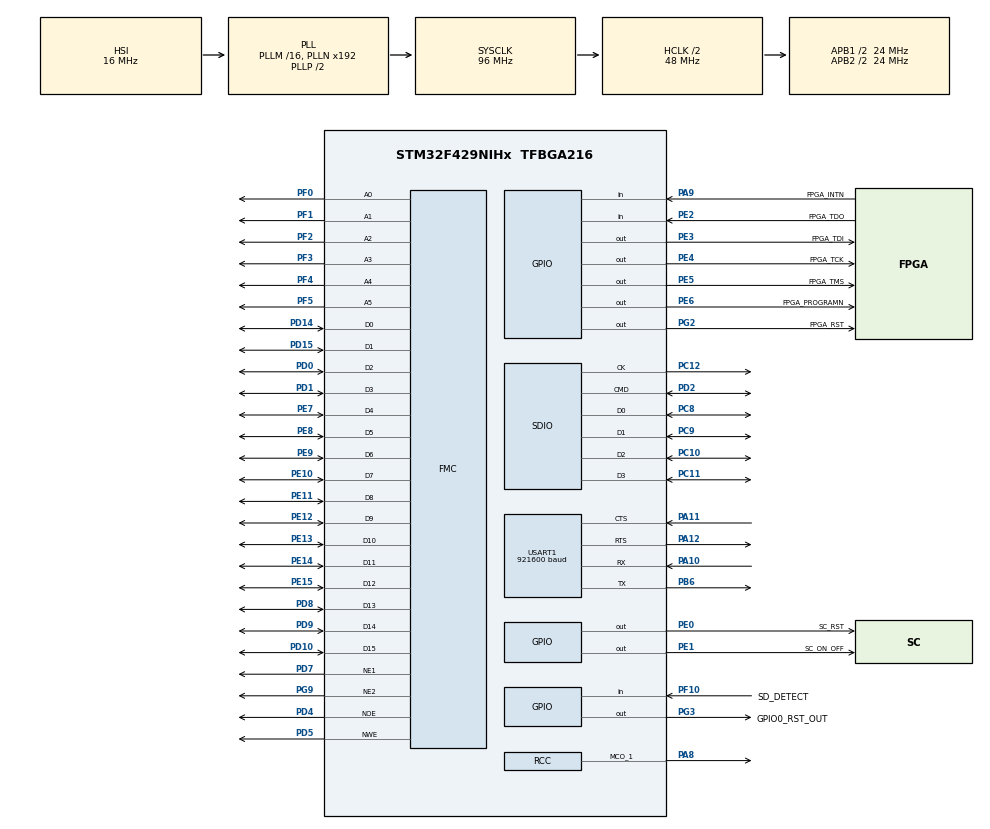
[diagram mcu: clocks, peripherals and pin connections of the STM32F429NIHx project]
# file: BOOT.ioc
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Dma.Request0=SDIO_RX
Dma.Request1=SDIO_TX
Dma.Request2=USART1_RX
Dma.Request3=USART1_TX
Dma.SDIO_RX.0.Direction=DMA_PERIPH_TO_MEMORY
Dma.SDIO_RX.0.FIFOMode=DMA_FIFOMODE_ENABLE
Dma.SDIO_RX.0.FIFOThreshold=DMA_FIFO_THRESHOLD_FULL
Dma.SDIO_RX.0.Instance=DMA2_Stream3
Dma.SDIO_RX.0.MemBurst=DMA_MBURST_INC4
Dma.SDIO_RX.0.MemDataAlignment=DMA_MDATAALIGN_WORD
Dma.SDIO_RX.0.MemInc=DMA_MINC_ENABLE
Dma.SDIO_RX.0.Mode=DMA_PFCTRL
Dma.SDIO_RX.0.PeriphBurst=DMA_PBURST_INC4
Dma.SDIO_RX.0.PeriphDataAlignment=DMA_PDATAALIGN_WORD
Dma.SDIO_RX.0.PeriphInc=DMA_PINC_DISABLE
Dma.SDIO_RX.0.Priority=DMA_PRIORITY_LOW
Dma.SDIO_TX.1.Direction=DMA_MEMORY_TO_PERIPH
Dma.SDIO_TX.1.FIFOMode=DMA_FIFOMODE_ENABLE
Dma.SDIO_TX.1.FIFOThreshold=DMA_FIFO_THRESHOLD_FULL
Dma.SDIO_TX.1.Instance=DMA2_Stream6
Dma.SDIO_TX.1.MemBurst=DMA_MBURST_INC4
Dma.SDIO_TX.1.MemDataAlignment=DMA_MDATAALIGN_WORD
Dma.SDIO_TX.1.MemInc=DMA_MINC_ENABLE
Dma.SDIO_TX.1.Mode=DMA_PFCTRL
Dma.SDIO_TX.1.PeriphBurst=DMA_PBURST_INC4
Dma.SDIO_TX.1.PeriphDataAlignment=DMA_PDATAALIGN_WORD
Dma.SDIO_TX.1.PeriphInc=DMA_PINC_DISABLE
Dma.SDIO_TX.1.Priority=DMA_PRIORITY_LOW
Dma.USART1_RX.2.Direction=DMA_PERIPH_TO_MEMORY
Dma.USART1_RX.2.FIFOMode=DMA_FIFOMODE_DISABLE
Dma.USART1_RX.2.Instance=DMA2_Stream2
Dma.USART1_RX.2.MemDataAlignment=DMA_MDATAALIGN_BYTE
Dma.USART1_RX.2.MemInc=DMA_MINC_ENABLE
Dma.USART1_RX.2.Mode=DMA_NORMAL
Dma.USART1_RX.2.PeriphDataAlignment=DMA_PDATAALIGN_BYTE
Dma.USART1_RX.2.PeriphInc=DMA_PINC_DISABLE
Dma.USART1_RX.2.Priority=DMA_PRIORITY_LOW
Dma.USART1_TX.3.Direction=DMA_MEMORY_TO_PERIPH
Dma.USART1_TX.3.FIFOMode=DMA_FIFOMODE_DISABLE
Dma.USART1_TX.3.Instance=DMA2_Stream7
Dma.USART1_TX.3.MemDataAlignment=DMA_MDATAALIGN_BYTE
Dma.USART1_TX.3.MemInc=DMA_MINC_ENABLE
Dma.USART1_TX.3.Mode=DMA_NORMAL
Dma.USART1_TX.3.PeriphDataAlignment=DMA_PDATAALIGN_BYTE
Dma.USART1_TX.3.PeriphInc=DMA_PINC_DISABLE
Dma.USART1_TX.3.Priority=DMA_PRIORITY_LOW
FATFS.BSP.number=1
FATFS.USE_DMA_CODE_SD=1
FATFS._USE_FASTSEEK=0
FATFS._USE_LFN=1
FATFS._USE_MKFS=0
FATFS0.BSP.STBoard=false
FATFS0.BSP.api=Unknown
FATFS0.BSP.i2caddr=0
FATFS0.BSP.instance=PF10
FATFS0.BSP.ip=GPIO
FATFS0.BSP.mode=Input
FATFS0.BSP.name=Detect_SDIO
FATFS0.BSP.solution=PF10
Mcu.Family=STM32F4
Mcu.Name=STM32F429NIHx
Mcu.Package=TFBGA216
NVIC.DMA2_Stream2_IRQn=true\:0\:0\:false\:false\:true\:false\:true
NVIC.DMA2_Stream3_IRQn=true\:0\:0\:false\:false\:true\:false\:true
NVIC.DMA2_Stream6_IRQn=true\:0\:0\:false\:false\:true\:false\:true
NVIC.DMA2_Stream7_IRQn=true\:0\:0\:false\:false\:true\:false\:true
NVIC.PriorityGroup=NVIC_PRIORITYGROUP_4
NVIC.SDIO_IRQn=true\:0\:0\:false\:false\:true\:true\:true
NVIC.USART1_IRQn=true\:0\:0\:false\:false\:true\:true\:true
PA10.Mode=Asynchronous
PA10.Signal=USART1_RX
PA11.Mode=CTS_RTS
PA11.Signal=USART1_CTS
PA12.Mode=CTS_RTS
PA12.Signal=USART1_RTS
PA8.Mode=Clock-out-1
PA8.Signal=RCC_MCO_1
PA9.GPIO_Label=FPGA_INTN
PA9.Signal=GPIO_Input
PB6.Mode=Asynchronous
PB6.Signal=USART1_TX
PC10.Mode=SD_4_bits_Wide_bus
PC10.Signal=SDIO_D2
PC11.Mode=SD_4_bits_Wide_bus
PC11.Signal=SDIO_D3
PC12.Mode=SD_4_bits_Wide_bus
PC12.Signal=SDIO_CK
PC8.Mode=SD_4_bits_Wide_bus
PC8.Signal=SDIO_D0
PC9.Mode=SD_4_bits_Wide_bus
PC9.Signal=SDIO_D1
PD0.Signal=FMC_D2_DA2
PD1.Signal=FMC_D3_DA3
PD10.Signal=FMC_D15_DA15
PD14.Signal=FMC_D0_DA0
PD15.Signal=FMC_D1_DA1
PD2.Mode=SD_4_bits_Wide_bus
PD2.Signal=SDIO_CMD
PD4.Signal=FMC_NOE
PD5.Signal=FMC_NWE
PD7.Mode=NorPsramChipSelect1_1
PD7.Signal=FMC_NE1
PD8.Signal=FMC_D13_DA13
PD9.Signal=FMC_D14_DA14
PE0.GPIO_Label=SC_RST
PE0.Signal=GPIO_Output
PE1.GPIO_Label=SC_ON_OFF
PE1.Signal=GPIO_Output
PE10.Signal=FMC_D7_DA7
PE11.Signal=FMC_D8_DA8
PE12.Signal=FMC_D9_DA9
PE13.Signal=FMC_D10_DA10
PE14.Signal=FMC_D11_DA11
PE15.Signal=FMC_D12_DA12
PE2.GPIO_Label=FPGA_TDO
PE2.Signal=GPIO_Input
PE3.GPIO_Label=FPGA_TDI
PE3.Signal=GPIO_Output
PE4.GPIO_Label=FPGA_TCK
PE4.GPIO_Speed=GPIO_SPEED_FREQ_LOW
PE4.Signal=GPIO_Output
PE5.GPIO_Label=FPGA_TMS
PE5.GPIO_Speed=GPIO_SPEED_FREQ_LOW
PE5.Signal=GPIO_Output
PE6.GPIO_Label=FPGA_PROGRAMN
PE6.GPIO_Speed=GPIO_SPEED_FREQ_LOW
PE6.Signal=GPIO_Output
PE7.Signal=FMC_D4_DA4
PE8.Signal=FMC_D5_DA5
PE9.Signal=FMC_D6_DA6
PF0.Signal=FMC_A0
PF1.Signal=FMC_A1
PF10.GPIO_Label=SD_DETECT
PF10.Signal=GPIO_Input
PF2.Signal=FMC_A2
PF3.Signal=FMC_A3
PF4.Signal=FMC_A4
PF5.Signal=FMC_A5
PG2.GPIO_Label=FPGA_RST
PG2.Signal=GPIO_Output
PG3.GPIO_Label=GPIO0_RST_OUT
PG3.Signal=GPIO_Output
PG9.Mode=NorPsramChipSelect2_2
PG9.Signal=FMC_NE2
ProjectManager.HeapSize=0x200
ProjectManager.StackSize=0x400
ProjectManager.TargetToolchain=STM32CubeIDE
RCC.48MHZClocksFreq_Value=48000000
RCC.AHBCLKDivider=RCC_SYSCLK_DIV2
RCC.AHBFreq_Value=48000000
RCC.APB1CLKDivider=RCC_HCLK_DIV2
RCC.APB1Freq_Value=24000000
RCC.APB1TimFreq_Value=48000000
RCC.APB2CLKDivider=RCC_HCLK_DIV2
RCC.APB2Freq_Value=24000000
RCC.APB2TimFreq_Value=48000000
RCC.CortexFreq_Value=48000000
RCC.HCLKFreq_Value=48000000
RCC.HSE_VALUE=25000000
RCC.HSI_VALUE=16000000
RCC.LSE_VALUE=32768
RCC.SYSCLKFreq_VALUE=96000000
RCC.SYSCLKSource=RCC_SYSCLKSOURCE_PLLCLK
RCC.VCOOutputFreq_Value=192000000
SH.FMC_A0.0=FMC_A0,6b-a1
SH.FMC_A0.1=FMC_A0,6b-a2
SH.FMC_A1.0=FMC_A1,6b-a1
SH.FMC_A1.1=FMC_A1,6b-a2
SH.FMC_A2.0=FMC_A2,6b-a1
SH.FMC_A2.1=FMC_A2,6b-a2
SH.FMC_A3.0=FMC_A3,6b-a1
SH.FMC_A3.1=FMC_A3,6b-a2
SH.FMC_A4.0=FMC_A4,6b-a1
SH.FMC_A4.1=FMC_A4,6b-a2
SH.FMC_A5.0=FMC_A5,6b-a1
SH.FMC_A5.1=FMC_A5,6b-a2
SH.FMC_D0_DA0.0=FMC_D0,16b-d1
SH.FMC_D0_DA0.1=FMC_D0,16b-d2
SH.FMC_D10_DA10.0=FMC_D10,16b-d1
SH.FMC_D10_DA10.1=FMC_D10,16b-d2
SH.FMC_D11_DA11.0=FMC_D11,16b-d1
SH.FMC_D11_DA11.1=FMC_D11,16b-d2
SH.FMC_D12_DA12.0=FMC_D12,16b-d1
SH.FMC_D12_DA12.1=FMC_D12,16b-d2
SH.FMC_D13_DA13.0=FMC_D13,16b-d1
SH.FMC_D13_DA13.1=FMC_D13,16b-d2
SH.FMC_D14_DA14.0=FMC_D14,16b-d1
SH.FMC_D14_DA14.1=FMC_D14,16b-d2
SH.FMC_D15_DA15.0=FMC_D15,16b-d1
SH.FMC_D15_DA15.1=FMC_D15,16b-d2
SH.FMC_D1_DA1.0=FMC_D1,16b-d1
SH.FMC_D1_DA1.1=FMC_D1,16b-d2
SH.FMC_D2_DA2.0=FMC_D2,16b-d1
SH.FMC_D2_DA2.1=FMC_D2,16b-d2
SH.FMC_D3_DA3.0=FMC_D3,16b-d1
SH.FMC_D3_DA3.1=FMC_D3,16b-d2
SH.FMC_D4_DA4.0=FMC_D4,16b-d1
SH.FMC_D4_DA4.1=FMC_D4,16b-d2
SH.FMC_D5_DA5.0=FMC_D5,16b-d1
SH.FMC_D5_DA5.1=FMC_D5,16b-d2
SH.FMC_D6_DA6.0=FMC_D6,16b-d1
SH.FMC_D6_DA6.1=FMC_D6,16b-d2
SH.FMC_D7_DA7.0=FMC_D7,16b-d1
SH.FMC_D7_DA7.1=FMC_D7,16b-d2
SH.FMC_D8_DA8.0=FMC_D8,16b-d1
SH.FMC_D8_DA8.1=FMC_D8,16b-d2
SH.FMC_D9_DA9.0=FMC_D9,16b-d1
SH.FMC_D9_DA9.1=FMC_D9,16b-d2
SH.FMC_NOE.0=FMC_NOE,Sram1
SH.FMC_NOE.1=FMC_NOE,Sram2
SH.FMC_NWE.0=FMC_NWE,Sram1
SH.FMC_NWE.1=FMC_NWE,Sram2
USART1.BaudRate=921600
USART1.VirtualMode=VM_ASYNC
VP_FATFS_VS_SDIO.Mode=SDIO
board=custom

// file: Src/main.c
/* USER CODE BEGIN Header */
/**
  ******************************************************************************
  * @file           : main.c
  * @brief          : Main program body
  ******************************************************************************
  * @attention
  *
  * <h2><center>&copy; Copyright (c) 2019 STMicroelectronics.
  * All rights reserved.</center></h2>
  *
  * This software component is licensed by ST under BSD 3-Clause license,
  * the "License"; You may not use this file except in compliance with the
  * License. You may obtain a copy of the License at:
  *                        opensource.org/licenses/BSD-3-Clause
  *
  ******************************************************************************
  */
/* USER CODE END Header */
#include "main.h"
#include "dma.h"
#include "fatfs.h"
#include "sdio.h"
#include "usart.h"
#include "gpio.h"

/* USER CODE BEGIN Includes */
#include "FPGA.h"
#include "stm32f4xx_hal_sram.h"
#include "console.h"
#include "FPGA_Setup.h"
/* USER CODE END Includes */

/* USER CODE BEGIN PD */

#define APPLICATION_ADDRESS        0x08060000	//STRAT of MPU-set
//#define APPLICATION_ADDRESS        0x08080000	//STRAT of UART-test
#define FPGA_IPM_SRAM_BASE_ADDR    0x60000000U
typedef void (*pFunction)(void);
static SRAM_HandleTypeDef SRAM_READ;
static SRAM_HandleTypeDef SRAM_WRITE;
/* USER CODE END PD */

/* USER CODE BEGIN PV */

uint8_t stlink_serial[12];

/* USER CODE END PV */

void SystemClock_Config(void);
extern int st_serial(void);

int main(void)
{
  /* USER CODE BEGIN 1 */

    uint16_t dataPtr;
    FIL fp;
    FATFS fs;
    volatile FRESULT fres;

  /* USER CODE END 1 */

  /* MCU Configuration--------------------------------------------------------*/

  /* Reset of all peripherals, Initializes the Flash interface and the Systick. */
  HAL_Init();

  /* Configure the system clock */
  SystemClock_Config();

  /* Initialize all configured peripherals */
  MX_GPIO_Init();
  MX_DMA_Init();
  MX_USART1_UART_Init();
  MX_SDIO_SD_Init();
  MX_FATFS_Init();
  /* USER CODE BEGIN 2 */
  FPGA_init();

  //Reset FPGA
  HAL_GPIO_WritePin(GPIOG, GPIO0_RST_OUT_Pin|FPGA_RST_Pin, GPIO_PIN_SET);
  HAL_GPIO_WritePin(GPIOG, GPIO0_RST_OUT_Pin|FPGA_RST_Pin, GPIO_PIN_RESET);

  uint32_t partial_serial;
  partial_serial = st_serial();
  memcpy(stlink_serial, &partial_serial, 4);
  partial_serial = st_serial();
  memcpy(stlink_serial+4, &partial_serial, 4);
  partial_serial = st_serial();
  memcpy(stlink_serial+8, &partial_serial, 4);

  /* USER CODE END 2 */

  /* Infinite loop */
  /* USER CODE BEGIN WHILE */
  while (1)
  {
	  ConsoleTask();
    /* USER CODE END WHILE */

  }
}

void SystemClock_Config(void)
{
  RCC_OscInitTypeDef RCC_OscInitStruct = {0};
  RCC_ClkInitTypeDef RCC_ClkInitStruct = {0};

  /** Configure the main internal regulator output voltage
  */
  __HAL_RCC_PWR_CLK_ENABLE();
  __HAL_PWR_VOLTAGESCALING_CONFIG(PWR_REGULATOR_VOLTAGE_SCALE3);
  /** Initializes the RCC Oscillators according to the specified parameters
  * in the RCC_OscInitTypeDef structure.
  */
  RCC_OscInitStruct.OscillatorType = RCC_OSCILLATORTYPE_HSI;
  RCC_OscInitStruct.HSIState = RCC_HSI_ON;
  RCC_OscInitStruct.HSICalibrationValue = RCC_HSICALIBRATION_DEFAULT;
  RCC_OscInitStruct.PLL.PLLState = RCC_PLL_ON;
  RCC_OscInitStruct.PLL.PLLSource = RCC_PLLSOURCE_HSI;
  RCC_OscInitStruct.PLL.PLLM = 16;
  RCC_OscInitStruct.PLL.PLLN = 192;
  RCC_OscInitStruct.PLL.PLLP = RCC_PLLP_DIV2;
  RCC_OscInitStruct.PLL.PLLQ = 4;
  if (HAL_RCC_OscConfig(&RCC_OscInitStruct) != HAL_OK)
  {
    Error_Handler();
  }
  /** Initializes the CPU, AHB and APB buses clocks
  */
  RCC_ClkInitStruct.ClockType = RCC_CLOCKTYPE_HCLK|RCC_CLOCKTYPE_SYSCLK
                              |RCC_CLOCKTYPE_PCLK1|RCC_CLOCKTYPE_PCLK2;
  RCC_ClkInitStruct.SYSCLKSource = RCC_SYSCLKSOURCE_PLLCLK;
  RCC_ClkInitStruct.AHBCLKDivider = RCC_SYSCLK_DIV2;
  RCC_ClkInitStruct.APB1CLKDivider = RCC_HCLK_DIV2;
  RCC_ClkInitStruct.APB2CLKDivider = RCC_HCLK_DIV2;

  if (HAL_RCC_ClockConfig(&RCC_ClkInitStruct, FLASH_LATENCY_1) != HAL_OK)
  {
    Error_Handler();
  }
  HAL_RCC_MCOConfig(RCC_MCO1, RCC_MCO1SOURCE_HSI, RCC_MCODIV_1);
}

void Error_Handler(void)
{
}

/************************ (C) COPYRIGHT STMicroelectronics *****END OF FILE****/
